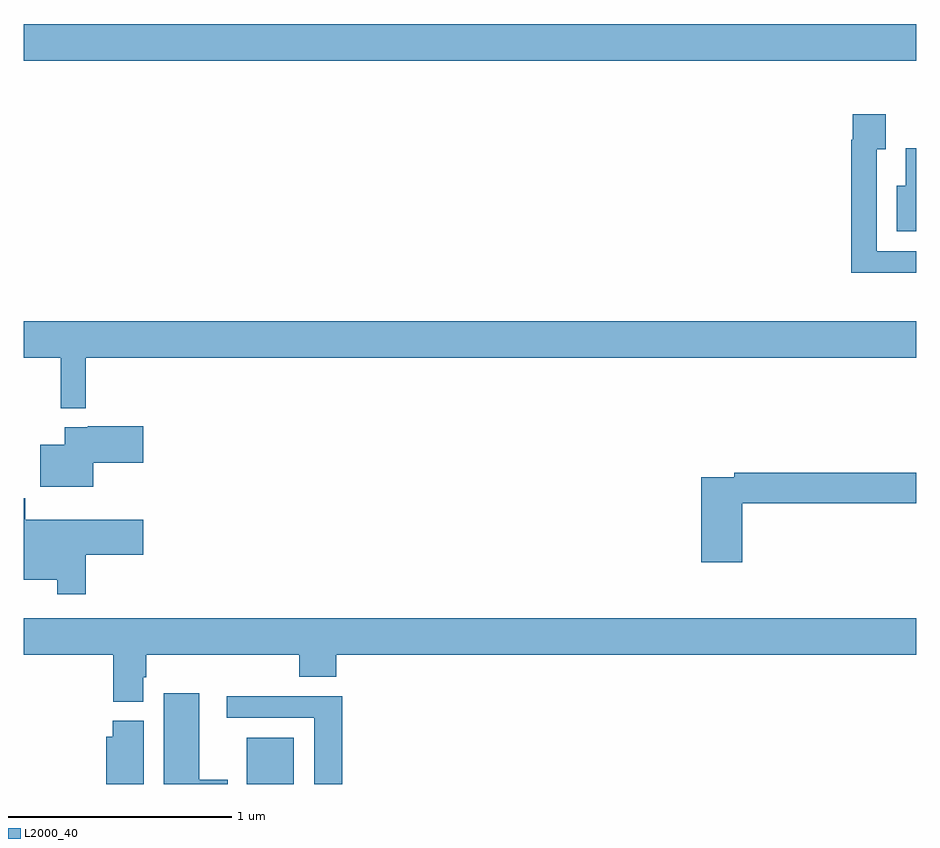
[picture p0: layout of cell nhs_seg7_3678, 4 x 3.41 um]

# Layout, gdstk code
import gdstk
lib = gdstk.Library(unit=1e-6, precision=1e-09)
def R(c, l, rs):  # rectangles x0, y0, x1, y1
    for r in rs: c.add(gdstk.rectangle(r[:2], r[2:], *l))
def P(c, l, *ps):  # polygons
    for p in ps: c.add(gdstk.Polygon(p, *l))
L2000_40 = (2000, 40)

nhs_seg7_3678 = lib.new_cell('nhs_seg7_3678')
R(nhs_seg7_3678, L2000_40, [(345.998,1036,346.21,1036.207), (345,1039.244,349,1039.408)])
P(nhs_seg7_3678, L2000_40, [(349,1038.39),(348.825,1038.39),(348.825,1038.847),(348.865,1038.847),(348.865,1039.003),(348.717,1039.003),(348.717,1038.89),(348.709,1038.89),(348.709,1038.293),(349,1038.293)],
  [(349,1038.85),(348.953,1038.85),(348.953,1038.682),(348.914,1038.682),(348.914,1038.479),(349,1038.479)],
  [(345.276,1037.912),(349,1037.912),(349,1038.076),(345,1038.076),(345,1037.912),(345.164,1037.912),(345.164,1037.684),(345.276,1037.684)],
  [(345.31,1037.441),(345.535,1037.441),(345.535,1037.604),(345.286,1037.604),(345.286,1037.599),(345.182,1037.599),(345.182,1037.521),(345.074,1037.521),(345.074,1037.333),(345.31,1037.333)],
  [(348.221,1037.26),(349,1037.26),(349,1037.396),(348.184,1037.396),(348.184,1037.376),(348.038,1037.376),(348.038,1036.995),(348.221,1036.995)],
  [(345.278,1037.027),(345.535,1037.027),(345.535,1037.185),(345.005,1037.185),(345.005,1037.281),(345,1037.281),(345,1036.916),(345.15,1036.916),(345.15,1036.851),(345.278,1036.851)],
  [(345.535,1036.479),(345.548,1036.479),(345.548,1036.58),(346.235,1036.58),(346.235,1036.481),(346.4,1036.481),(346.4,1036.58),(349,1036.58),(349,1036.744),(345,1036.744),(345,1036.58),(345.4,1036.58),(345.4,1036.369),(345.535,1036.369)],
  [(345.913,1036.018),(345.787,1036.018),(345.787,1036.408),(345.626,1036.408),(345.626,1036),(345.913,1036)],
  [(346.427,1036.394),(345.909,1036.394),(345.909,1036.296),(346.301,1036.296),(346.301,1036),(346.427,1036)],
  [(345.538,1036.284),(345.397,1036.284),(345.397,1036.212),(345.368,1036.212),(345.368,1036),(345.538,1036)])

lib.write_gds('nhs_seg7_3678.gds')
